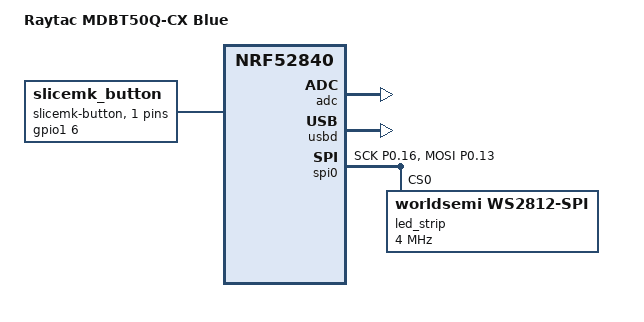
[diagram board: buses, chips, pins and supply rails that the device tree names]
/dts-v1/;
#include <nordic/nrf52840_qiaa.dtsi>

#include <dt-bindings/led/led.h>

/ {
    model = "Raytac MDBT50Q-CX Blue";

    chosen {
        zephyr,code-partition = &code_partition;
        zephyr,sram = &sram0;
        zephyr,flash = &flash0;
        zmk,underglow = &led_strip;
    };

    // Define user button.
    slicemk_button: slicemk_button {
        compatible = "slicemk-button";
        #gpio-cells = <2>;
        gpio-map-mask = <0xffffffff 0xffffffc0>;
        gpio-map-pass-thru = <0 0x3f>;
        gpio-map = <0 0 &gpio1 6 0>;
    };
};

&adc {
    status = "okay";
};

&gpiote {
    status = "okay";
};

&gpio0 {
    status = "okay";
};

&gpio1 {
    status = "okay";
};

&uicr {
    gpio-as-nreset;
    nfct-pins-as-gpios;
};

zephyr_udc0: &usbd {
    status = "okay";
};

&flash0 {
    partitions {
        compatible = "fixed-partitions";
        #address-cells = <1>;
        #size-cells = <1>;

        // Application starts at 0x1000 after the MBR.
        code_partition: partition@1000 {
            reg = <0x00001000 0x000ec000>;
        };

        // Define storage partition before the bootloader, which starts at
        // 0xf4000. 7 pages are allocated to be consistent with the Raytac
        // MDBT50Q-RX in case if users accidentally flash the firmware for the
        // wrong dongle.
        storage_partition: partition@ed000 {
            reg = <0x000ed000 0x00007000>;
        };
    };
};

&pinctrl {
    // Define arbitrary unused pins for MOSI and SCK. While the dongle itself
    // doesn't have an LED strip, ZMK requires something to be defined on the
    // central for LEDs to work on the peripherals.
    spi0_default: spi0_default {
        group1 {
            psels =
                <NRF_PSEL(SPIM_SCK, 0, 16)>,
                <NRF_PSEL(SPIM_MOSI, 0, 13)>;
        };
    };
};

&spi0 {
    compatible = "nordic,nrf-spim";
    status = "okay";
    pinctrl-0 = <&spi0_default>;
    pinctrl-names = "default";

    led_strip: ws2812@0 {
        compatible = "worldsemi,ws2812-spi";
        reg = <0>;
        spi-max-frequency = <4000000>;
        chain-length = <1>;
        color-mapping = <LED_COLOR_ID_GREEN LED_COLOR_ID_RED LED_COLOR_ID_BLUE>;
        spi-one-frame = <0x70>;
        spi-zero-frame = <0x40>;
    };
};
